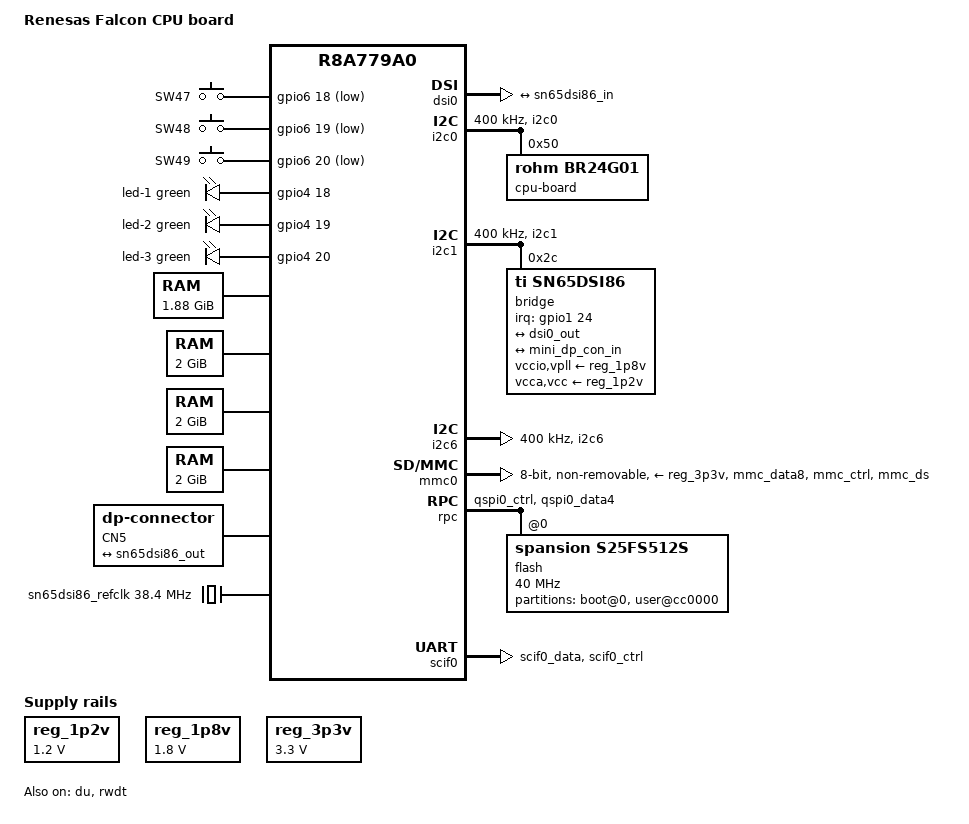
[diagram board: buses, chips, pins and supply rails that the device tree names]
// SPDX-License-Identifier: GPL-2.0
/*
 * Device Tree Source for the Falcon CPU board
 *
 * Copyright (C) 2020 Renesas Electronics Corp.
 */

#include <dt-bindings/gpio/gpio.h>
#include <dt-bindings/input/input.h>
#include <dt-bindings/leds/common.h>

#include "r8a779a0.dtsi"

/ {
	model = "Renesas Falcon CPU board";
	compatible = "renesas,falcon-cpu", "renesas,r8a779a0";

	aliases {
		serial0 = &scif0;
	};

	chosen {
		stdout-path = "serial0:115200n8";
	};

	keys {
		compatible = "gpio-keys";

		pinctrl-0 = <&keys_pins>;
		pinctrl-names = "default";

		key-1 {
			gpios = <&gpio6 18 GPIO_ACTIVE_LOW>;
			linux,code = <KEY_1>;
			label = "SW47";
			wakeup-source;
			debounce-interval = <20>;
		};

		key-2 {
			gpios = <&gpio6 19 GPIO_ACTIVE_LOW>;
			linux,code = <KEY_2>;
			label = "SW48";
			wakeup-source;
			debounce-interval = <20>;
		};

		key-3 {
			gpios = <&gpio6 20 GPIO_ACTIVE_LOW>;
			linux,code = <KEY_3>;
			label = "SW49";
			wakeup-source;
			debounce-interval = <20>;
		};
	};

	leds {
		compatible = "gpio-leds";

		led-1 {
			gpios = <&gpio4 18 GPIO_ACTIVE_HIGH>;
			color = <LED_COLOR_ID_GREEN>;
			function = LED_FUNCTION_INDICATOR;
			function-enumerator = <1>;
		};
		led-2 {
			gpios = <&gpio4 19 GPIO_ACTIVE_HIGH>;
			color = <LED_COLOR_ID_GREEN>;
			function = LED_FUNCTION_INDICATOR;
			function-enumerator = <2>;
		};
		led-3 {
			gpios = <&gpio4 20 GPIO_ACTIVE_HIGH>;
			color = <LED_COLOR_ID_GREEN>;
			function = LED_FUNCTION_INDICATOR;
			function-enumerator = <3>;
		};
	};

	memory@48000000 {
		device_type = "memory";
		/* first 128MB is reserved for secure area. */
		reg = <0x0 0x48000000 0x0 0x78000000>;
	};

	memory@500000000 {
		device_type = "memory";
		reg = <0x5 0x00000000 0x0 0x80000000>;
	};

	memory@600000000 {
		device_type = "memory";
		reg = <0x6 0x00000000 0x0 0x80000000>;
	};

	memory@700000000 {
		device_type = "memory";
		reg = <0x7 0x00000000 0x0 0x80000000>;
	};

	mini-dp-con {
		compatible = "dp-connector";
		label = "CN5";
		type = "mini";

		port {
			mini_dp_con_in: endpoint {
				remote-endpoint = <&sn65dsi86_out>;
			};
		};
	};

	reg_1p2v: regulator-1p2v {
		compatible = "regulator-fixed";
		regulator-name = "fixed-1.2V";
		regulator-min-microvolt = <1200000>;
		regulator-max-microvolt = <1200000>;
		regulator-boot-on;
		regulator-always-on;
	};

	reg_1p8v: regulator-1p8v {
		compatible = "regulator-fixed";
		regulator-name = "fixed-1.8V";
		regulator-min-microvolt = <1800000>;
		regulator-max-microvolt = <1800000>;
		regulator-boot-on;
		regulator-always-on;
	};

	reg_3p3v: regulator-3p3v {
		compatible = "regulator-fixed";
		regulator-name = "fixed-3.3V";
		regulator-min-microvolt = <3300000>;
		regulator-max-microvolt = <3300000>;
		regulator-boot-on;
		regulator-always-on;
	};

	sn65dsi86_refclk: clk-x6 {
		compatible = "fixed-clock";
		#clock-cells = <0>;
		clock-frequency = <38400000>;
	};
};

&dsi0 {
	status = "okay";

	ports {
		port@1 {
			dsi0_out: endpoint {
				remote-endpoint = <&sn65dsi86_in>;
				data-lanes = <1 2 3 4>;
			};
		};
	};
};

&du {
	status = "okay";
};

&extal_clk {
	clock-frequency = <16666666>;
};

&extalr_clk {
	clock-frequency = <32768>;
};

&i2c0 {
	pinctrl-0 = <&i2c0_pins>;
	pinctrl-names = "default";

	status = "okay";
	clock-frequency = <400000>;

	eeprom@50 {
		compatible = "rohm,br24g01", "atmel,24c01";
		label = "cpu-board";
		reg = <0x50>;
		pagesize = <8>;
	};
};

&i2c1 {
	pinctrl-0 = <&i2c1_pins>;
	pinctrl-names = "default";

	status = "okay";
	clock-frequency = <400000>;

	bridge@2c {
		compatible = "ti,sn65dsi86";
		reg = <0x2c>;

		clocks = <&sn65dsi86_refclk>;
		clock-names = "refclk";

		interrupt-parent = <&gpio1>;
		interrupts = <24 IRQ_TYPE_LEVEL_HIGH>;

		vccio-supply = <&reg_1p8v>;
		vpll-supply = <&reg_1p8v>;
		vcca-supply = <&reg_1p2v>;
		vcc-supply = <&reg_1p2v>;

		ports {
			#address-cells = <1>;
			#size-cells = <0>;

			port@0 {
				reg = <0>;
				sn65dsi86_in: endpoint {
					remote-endpoint = <&dsi0_out>;
				};
			};

			port@1 {
				reg = <1>;
				sn65dsi86_out: endpoint {
					remote-endpoint = <&mini_dp_con_in>;
				};
			};
		};
	};
};

&i2c6 {
	pinctrl-0 = <&i2c6_pins>;
	pinctrl-names = "default";

	status = "okay";
	clock-frequency = <400000>;
};

&mmc0 {
	pinctrl-0 = <&mmc_pins>;
	pinctrl-1 = <&mmc_pins>;
	pinctrl-names = "default", "state_uhs";

	vmmc-supply = <&reg_3p3v>;
	vqmmc-supply = <&reg_1p8v>;
	mmc-hs200-1_8v;
	mmc-hs400-1_8v;
	bus-width = <8>;
	no-sd;
	no-sdio;
	non-removable;
	full-pwr-cycle-in-suspend;
	status = "okay";
};

&pfc {
	pinctrl-0 = <&scif_clk_pins>;
	pinctrl-names = "default";

	i2c0_pins: i2c0 {
		groups = "i2c0";
		function = "i2c0";
	};

	i2c1_pins: i2c1 {
		groups = "i2c1";
		function = "i2c1";
	};

	i2c6_pins: i2c6 {
		groups = "i2c6";
		function = "i2c6";
	};

	keys_pins: keys {
		pins = "GP_6_18", "GP_6_19", "GP_6_20";
		bias-pull-up;
	};

	mmc_pins: mmc {
		groups = "mmc_data8", "mmc_ctrl", "mmc_ds";
		function = "mmc";
		power-source = <1800>;
	};

	qspi0_pins: qspi0 {
		groups = "qspi0_ctrl", "qspi0_data4";
		function = "qspi0";
	};

	scif0_pins: scif0 {
		groups = "scif0_data", "scif0_ctrl";
		function = "scif0";
	};

	scif_clk_pins: scif_clk {
		groups = "scif_clk";
		function = "scif_clk";
	};
};

&rpc {
	pinctrl-0 = <&qspi0_pins>;
	pinctrl-names = "default";

	status = "okay";

	flash@0 {
		compatible = "spansion,s25fs512s", "jedec,spi-nor";
		reg = <0>;
		spi-max-frequency = <40000000>;
		spi-rx-bus-width = <4>;

		partitions {
			compatible = "fixed-partitions";
			#address-cells = <1>;
			#size-cells = <1>;

			boot@0 {
				reg = <0x0 0xcc0000>;
				read-only;
			};
			user@cc0000 {
				reg = <0xcc0000 0x3340000>;
			};
		};
	};
};

&rwdt {
	timeout-sec = <60>;
	status = "okay";
};

&scif0 {
	pinctrl-0 = <&scif0_pins>;
	pinctrl-names = "default";

	uart-has-rtscts;
	status = "okay";
};

&scif_clk {
	clock-frequency = <24000000>;
};
